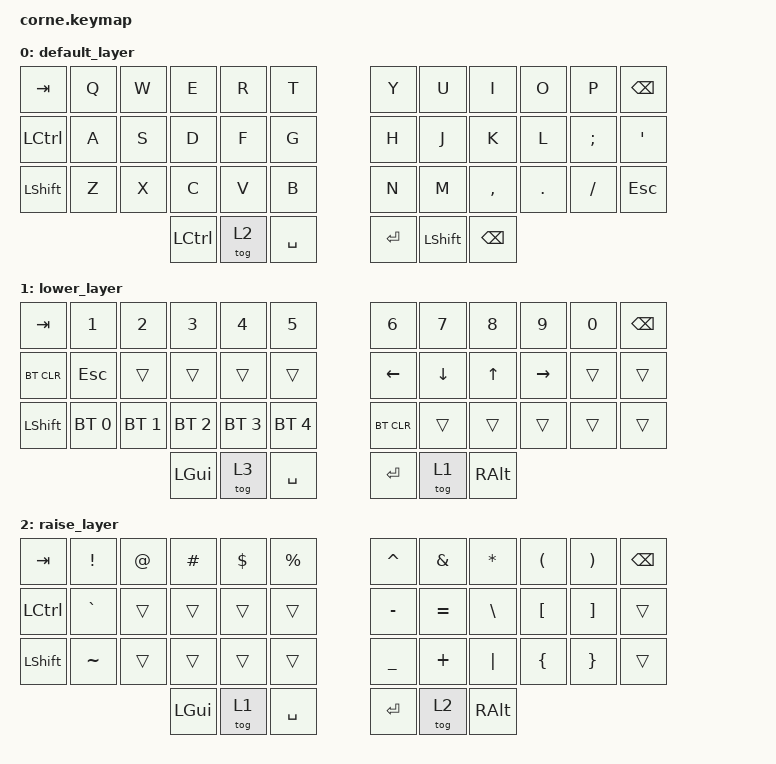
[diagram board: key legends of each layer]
/*
 * Copyright (c) 2020 The ZMK Contributors
 *
 * SPDX-License-Identifier: MIT
 */

#include <behaviors.dtsi>
#include <dt-bindings/zmk/keys.h>
#include <dt-bindings/zmk/bt.h>

/ {
        keymap {
                compatible = "zmk,keymap";

                default_layer {
// -----------------------------------------------------------------------------------------
// |  TAB |  Q  |  W  |  E  |  R  |  T  |   |  Y  |  U   |  I  |  O  |  P  | BSPC |
// | CTRL |  A  |  S  |  D  |  F  |  G  |   |  H  |  J   |  K  |  L  |  ;  |  '   |
// | SHFT |  Z  |  X  |  C  |  V  |  B  |   |  N  |  M   |  ,  |  .  |  /  | ESC  |
//                | CTRL | &tog 2 | SPC |   | ENT | SHFT | BSPC |
                        bindings = <
   &kp TAB   &kp Q &kp W &kp E &kp R &kp T   &kp Y &kp U  &kp I     &kp O   &kp P    &kp BSPC
   &kp LCTRL &kp A &kp S &kp D &kp F &kp G   &kp H &kp J  &kp K     &kp L   &kp SEMI &kp SQT
   &kp LSHFT &kp Z &kp X &kp C &kp V &kp B   &kp N &kp M  &kp COMMA &kp DOT &kp FSLH &kp ESC
                  &kp LCTRL &tog 2 &kp SPACE  &kp RET &kp LSHFT &kp BSPC
                        >;
                };
                lower_layer {
// -----------------------------------------------------------------------------------------
// |  TAB |  1  |  2  |  3  |  4  |  5  |   |  6  |  7  |  8  |  9  |  0  | BSPC |
// | BTCLR| ESC |     |     |     |     |   | LFT | DWN |  UP | RGT |     |      |
// | SHFT | BT1 | BT2 | BT3 | BT4 | BT5 |   | BTCLR |   |     |     |     |      |
//                 | GUI | &tog 3 | SPC |   | ENT | &tog 1 | ALT |
                        bindings = <
   &kp TAB    &kp N1       &kp N2       &kp N3       &kp N4       &kp N5         &kp N6   &kp N7   &kp N8 &kp N9    &kp N0 &kp BSPC
   &bt BT_CLR &kp ESC      &trans       &trans       &trans       &trans         &kp LEFT &kp DOWN &kp UP &kp RIGHT &trans &trans
   &kp LSHFT  &bt BT_SEL 0 &bt BT_SEL 1 &bt BT_SEL 2 &bt BT_SEL 3 &bt BT_SEL 4   &bt BT_CLR   &trans   &trans &trans &trans &trans
                                    &kp LGUI     &tog 3       &kp SPACE      &kp RET  &tog 1  &kp RALT
                        >;
                };

                raise_layer {
// -----------------------------------------------------------------------------------------
// |  TAB |  !  |  @  |  #  |  $  |  %  |   |  ^  |  &  |  *  |  (  |  )  | BSPC |
// | CTRL |  `  |     |     |     |     |   |  -  |  =  |  \  |  [  |  ]  |      |
// | SHFT |  ~  |     |     |     |     |   |  _  |  +  | "|" |  {  |  }  |      |
//                 | GUI | &tog 1 | SPC |   | ENT | &tog 2 | ALT |
                        bindings = <
   &kp  TAB  &kp EXCL  &kp AT &kp HASH &kp DLLR &kp PRCNT   &kp CARET &kp AMPS  &kp ASTRK &kp LPAR &kp RPAR &kp BSPC
   &kp LCTRL &kp GRAVE &trans &trans   &trans   &trans      &kp MINUS &kp EQUAL &kp BSLH  &kp LBKT &kp RBKT &trans
   &kp LSHFT &kp TILDE &trans &trans   &trans   &trans      &kp UNDER &kp PLUS  &kp PIPE  &kp LBRC  &kp RBRC &trans
                             &kp LGUI  &tog 1   &kp SPACE   &kp RET   &tog 2    &kp RALT
                        >;
                };
        };
};
